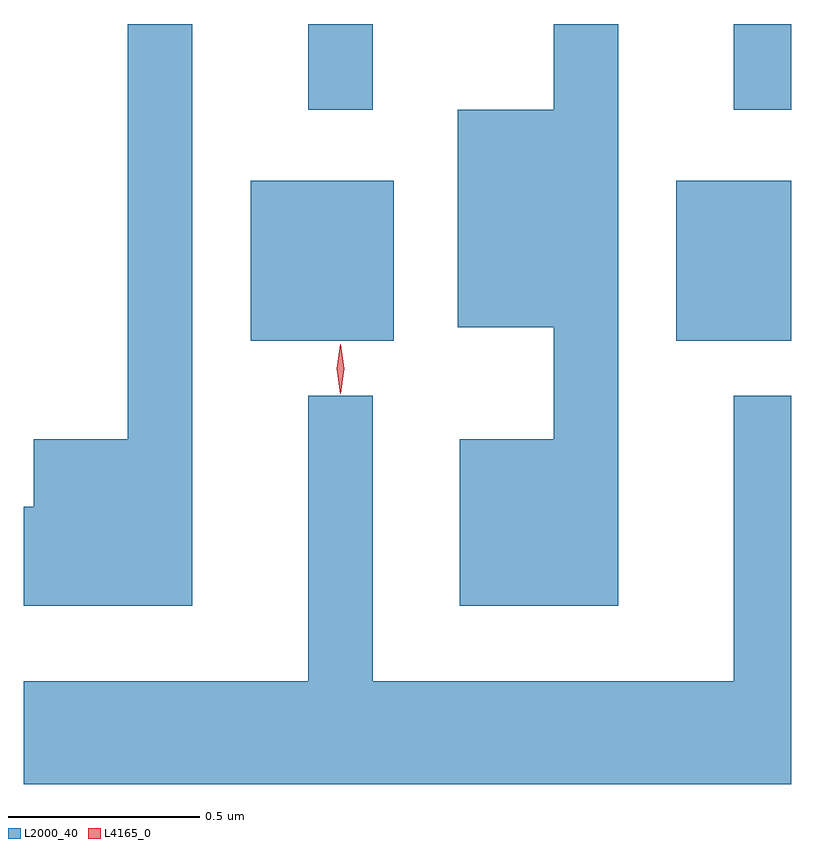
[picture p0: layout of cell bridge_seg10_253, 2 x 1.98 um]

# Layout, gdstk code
import gdstk
lib = gdstk.Library(unit=1e-6, precision=1e-09)
def R(c, l, rs):  # rectangles x0, y0, x1, y1
    for r in rs: c.add(gdstk.rectangle(r[:2], r[2:], *l))
def P(c, l, *ps):  # polygons
    for p in ps: c.add(gdstk.Polygon(p, *l))
L2000_40 = (2000, 40)
L4165_0 = (4165, 0)

bridge_seg10_253 = lib.new_cell('bridge_seg10_253')
R(bridge_seg10_253, L2000_40, [(1796.501,2101.751,1796.874,2102.169), (1797.611,2101.751,1797.91,2102.169), (1796.651,2102.353,1796.819,2102.577), (1797.761,2102.353,1797.91,2102.577)])
P(bridge_seg10_253, L2000_40, [(1797.459,2102.577),(1797.291,2102.577),(1797.291,2102.354),(1797.041,2102.354),(1797.041,2101.786),(1797.291,2101.786),(1797.291,2101.494),(1797.046,2101.494),(1797.046,2101.061),(1797.459,2101.061)],
  [(1796.349,2102.577),(1796.181,2102.577),(1796.181,2101.494),(1795.936,2101.494),(1795.936,2101.319),(1795.91,2101.319),(1795.91,2101.061),(1796.349,2101.061)],
  [(1797.91,2101.608),(1797.761,2101.608),(1797.761,2100.864),(1796.819,2100.864),(1796.819,2101.608),(1796.651,2101.608),(1796.651,2100.864),(1795.91,2100.864),(1795.91,2100.596),(1797.91,2100.596)])
P(bridge_seg10_253, L4165_0, [(1796.735,2101.613),(1796.735,2101.613),(1796.725,2101.678),(1796.735,2101.742),(1796.735,2101.742),(1796.736,2101.742),(1796.745,2101.678),(1796.736,2101.613)])

lib.write_gds('bridge_seg10_253.gds')
